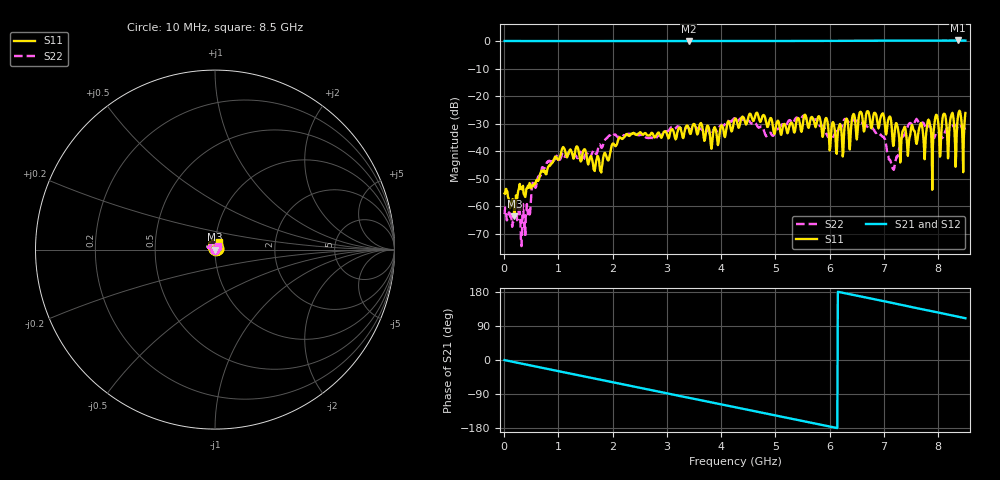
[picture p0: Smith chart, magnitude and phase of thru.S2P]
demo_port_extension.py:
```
"""
Mini-Circuits Vayyar UVNA-63 demo script "demo_port_extension.py"
Description: Applies 12-Term correction and port extensions
             to correct for fixturing
"""
import numpy as np
from vnakit_ex import getSettingsStr, loadGammaListed
from vnakit_ex.hidden import readSnP, prompt2PortSOLT, get12TermModel, \
                            measure2Port, ab2S, correctPortExt, userMsg,\
                            correct12Term, plotCompareDb, getPortExtModel,\
                            getIdealSparams
import vnakit

def main():
    print('\n------------ DEMO: Mini-Circuits Vayyar VNA kit ------------\n')
    print(  '---------------------- Port Extension ----------------------\n')
    print(  '--------- Press Enter to continue. Type q to exit. ---------\n')
    # VNA kit port mapping
    ports = {'Tx1':6,'Rx1A':5,'Rx1B':4,'Tx2':3,'Rx2A':2,'Rx2B':1}
    # intializes the board object
    vnakit.Init()
    # VNA Kit settings
    settings = vnakit.RecordingSettings(
        vnakit.FrequencyRange(100, 6000, 236), # fmin,fmax,num_points
        1, # RBW (in KHz)
        -10, # output power (dbM)
        ports['Tx1'], # transmitter port
        vnakit.VNAKIT_MODE_TWO_PORTS
    )
    vnakit.ApplySettings(settings)
    freq_vec = np.array(vnakit.GetFreqVector_MHz())
    print('The board is initialized with settings:\n')
    settings_str = getSettingsStr(settings)
    print(settings_str)
    print('2-Port Calibration:')
    sol_stds = ['stds/open.S1P','stds/short.S1P','stds/load.S1P']
    Gamma_listed = loadGammaListed(sol_stds,freq_vec*1e6)
    Thru_listed = readSnP('stds/thru.S2P',freq_desired=freq_vec*1e6)
    (Gamma_meas1,Gamma_meas2,Thru_meas) = \
        prompt2PortSOLT(vnakit,settings,ports,isolation=False)
    print('Constructing 12-Term Error Model..')
    (fwd_terms,rev_terms) = get12TermModel(Gamma_listed,Gamma_meas1,
        Gamma_listed,Gamma_meas2,Thru_listed,Thru_meas)
    # calibration is now complete (by having obtained the error terms)
    # now measure the port extensions
    (G_ideal,T_ideal) = getIdealSparams(len(freq_vec))
    G_open = G_ideal[:,0]
    while(1):
        port_num = 0;
        while(port_num not in [1,2]):
            port_num = userMsg('>> Port Extend @:\n[1] Port-1\n[2] Port-2\n>> ');
            if port_num.isdigit():
                port_num=int(port_num)
        userMsg('>> Measure OPEN @ Port-'+str(port_num)+': ')
        print('Recording...',end='')
        (rec_tx1,rec_tx2) = measure2Port(vnakit,settings,ports)
        print('Done.\n')
        S_ext_meas = ab2S(rec_tx1,rec_tx2,ports)
        S_ext = correct12Term(S_ext_meas,fwd_terms,rev_terms)
        G_ext = S_ext[:,port_num-1,port_num-1]
        print('Getting Port Extension Model...')
        e10e01 = getPortExtModel(G_ext, G_open)
        # we have measured the port extensions to be removed from the measurement
        # now enter a loop that takes a measurement and plots the results
        while(1):
            userMsg('>> Measure DUT:')
            print('Recording...',end='')
            (rec_tx1,rec_tx2) = measure2Port(vnakit,settings,ports)
            print('Done.\n')
            S_ext_dut_meas = ab2S(rec_tx1,rec_tx2,ports)
            print('Applying 12-Term Model Correction...')
            S_ext_dut = correct12Term(S_ext_dut_meas,fwd_terms,rev_terms)
            print('Port Extending at Port-'+str(port_num)+'...')
            S_dut = correctPortExt(S_ext_dut,e10e01,port_num)
            print('Plotting...')
            plotCompareDb(freq_vec,[S_ext_dut_meas,G_ext,S_ext_dut,S_dut],
                ['Uncorrected S-Params','Extension Reflection Coefficient',
                'Corrected Extension-DUT device','Corrected DUT'])

if __name__ == '__main__':
    main()
```
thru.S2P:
!Agilent Technologies,N3383A,US41480161,A.04.87.01
!Agilent N3383A: A.04.87.01
!Date: Monday, September 24, 2018 16:44:19
!Correction: S11(Full 2 Port SOLT,1,2) S21(Full 2 Port SOLT,1,2) S12(Full 2 Port SOLT,1,2) S22(Full 2 Port SOLT,1,2)
!S2P File: Measurements: S11, S21, S12, S22:
!Part No: SF-SF50+
!Part Description: SMA-F to SMA-F Adaptor
# Hz S  dB  R 50
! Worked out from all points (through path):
!   850 points, 10 MHz to 8.5 GHz, reference 50 ohm
!   highest |S21| = 0.20 dB at 8.36 GHz (marker M1); lowest = 0.0 dB at 3.4 GHz (marker M2)
!   group delay of S21, straight-line fit = 81.4 ps
!   lowest |S11| = -63.7 dB at 190 MHz (marker M3), VSWR 1.00, Z = 50 - j0.0583 ohm
!   |S11| at or under -10 dB: start of sweep to end of sweep
!   |S22| runs from -74.6 to -27.1 dB; largest |S21 - S12| = 0.0061
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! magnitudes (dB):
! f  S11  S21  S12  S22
! 10 MHz  -55.4  0.0  0.0  -62.9
! 190 MHz  -63.7  0.0  0.0  -63.7
! 350 MHz  -52.6  0.0  0.0  -59.2
! 950 MHz  -42.2  0.0  0.0  -42.3
! 3.4 GHz  -31.7  0.0  -0.1  -31.6
! 4.26 GHz  -28.2  0.0  0.0  -28.2
! 6.53 GHz  -28.6  0.1  0.0  -28.9
! 7.17 GHz  -38.1  0.1  0.1  -46.4
! 7.47 GHz  -35.1  0.2  0.1  -29.9
! 8.36 GHz  -27.9  0.2  0.2  -31.9
! 8.5 GHz  -26.2  0.2  0.1  -32.5
